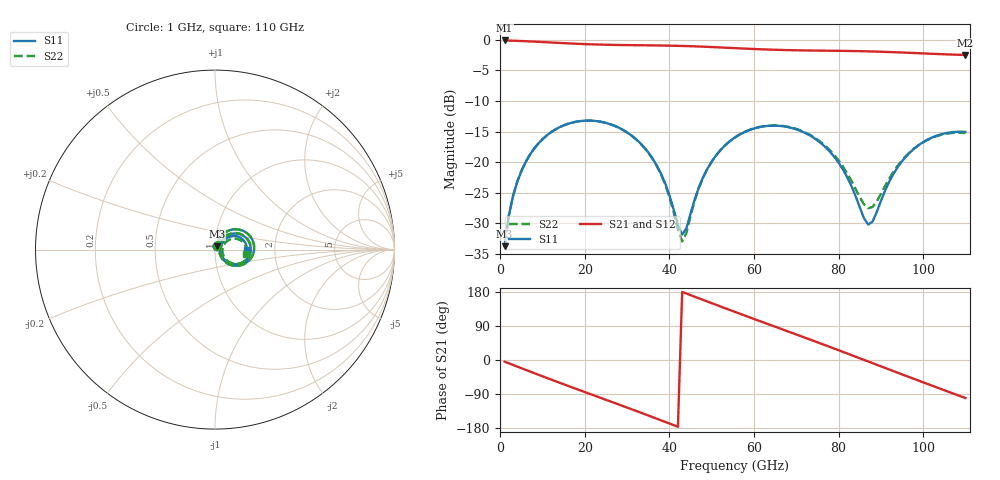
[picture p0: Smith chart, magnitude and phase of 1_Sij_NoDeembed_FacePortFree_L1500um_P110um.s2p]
! Touchstone file exported from HFSS 2024.2.0
!  File:  C:/Users/vaintrug/Documents/Ansoft_Workspace/Comparaison_Calculs_HFSS/1_VarPort.aedt
!  Generated:  03:22:16 PM Jan 21, 2025
!  Design:  1_NoDeembed_FacePortFree
!  Project:  1_VarPort
!  Setup:  Setup1
!  Solution:  Sweep
! Variables:
!  $Lenght = 1500um
!  $PortSize = 110um
!  Gap = 30um
!  Th = 2um
!  X_centralStrip = 20um
!  X_masse = 200um
!  Y_Sub = 1.5mm
!  Z_Box = 400um
!  Z_Sub = 200um
# GHz S MA R 50.000000
! Terminal data exported
! Port[1] = 1
! Port[2] = 2
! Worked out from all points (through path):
!   110 points, 1 GHz to 110 GHz, reference 50 ohm
!   highest |S21| = -0.10 dB at 1 GHz (marker M1); lowest = -2.5 dB at 110 GHz (marker M2)
!   group delay of S21, straight-line fit = 11.6 ps
!   lowest |S11| = -33.8 dB at 1 GHz (marker M3), VSWR 1.04, Z = 50.9 + j1.85 ohm
!   |S11| at or under -10 dB: start of sweep to end of sweep
!   |S22| runs from -33.8 to -13.2 dB; largest |S21 - S12| = 1.5e-14
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1  0.02053 62.3  0.9891 -4.4  0.9891 -4.4  0.02053 62.3
! Gamma 5.79774125142501 50.2656221965384 5.74726129948481 49.8726799641601
! Port Impedance 50 0 50 0
3  0.05295 69.8  0.9841 -13.1  0.9841 -13.1  0.05296 69.8
7  0.1152 58.5  0.9716 -30.4  0.9716 -30.4  0.1152 58.4
14  0.1931 31.4  0.944 -60.0  0.944 -60.0  0.193 31.2
20  0.2183 8.2  0.9235 -84.7  0.9235 -84.7  0.2182 7.8
29  0.1836 -25.1  0.9072 -121.6  0.9072 -121.6  0.1832 -25.8
34  0.1322 -41.6  0.9029 -142.4  0.9029 -142.4  0.1316 -42.7
38  0.08032 -50.1  0.8992 -159.2  0.8992 -159.2  0.07922 -52.0
43  0.02553 -2.3  0.8916 179.6  0.8916 179.6  0.02244 -1.9
44  0.02877 25.2  0.8895 175.3  0.8895 175.3  0.02628 29.1
47  0.06278 51.6  0.8822 162.6  0.8822 162.6  0.06204 54.5
49  0.08864 51.0  0.8765 154.1  0.8765 154.1  0.08834 53.1
56  0.1633 31.8  0.8542 124.8  0.8542 124.8  0.1637 32.9
65  0.1987 0.8  0.8299 87.8  0.8299 87.8  0.1997 1.9
74  0.159 -29.4  0.818 50.8  0.818 50.8  0.1612 -27.5
81  0.08748 -46.3  0.8127 21.6  0.8127 21.6  0.09225 -42.0
87  0.03084 -5.1  0.8054 -3.9  0.8054 -3.9  0.042 -7.3
88  0.03246 15.4  0.8037 -8.1  0.8037 -8.1  0.04285 6.9
92  0.06934 45.1  0.7955 -25.2  0.7955 -25.2  0.07348 34.2
96  0.1116 40.5  0.7856 -42.1  0.7856 -42.1  0.1129 32.1
101  0.1524 26.9  0.7724 -63.1  0.7724 -63.1  0.1516 19.5
110  0.1766 -1.1  0.7526 -100.4  0.7526 -100.4  0.1728 -9.0
